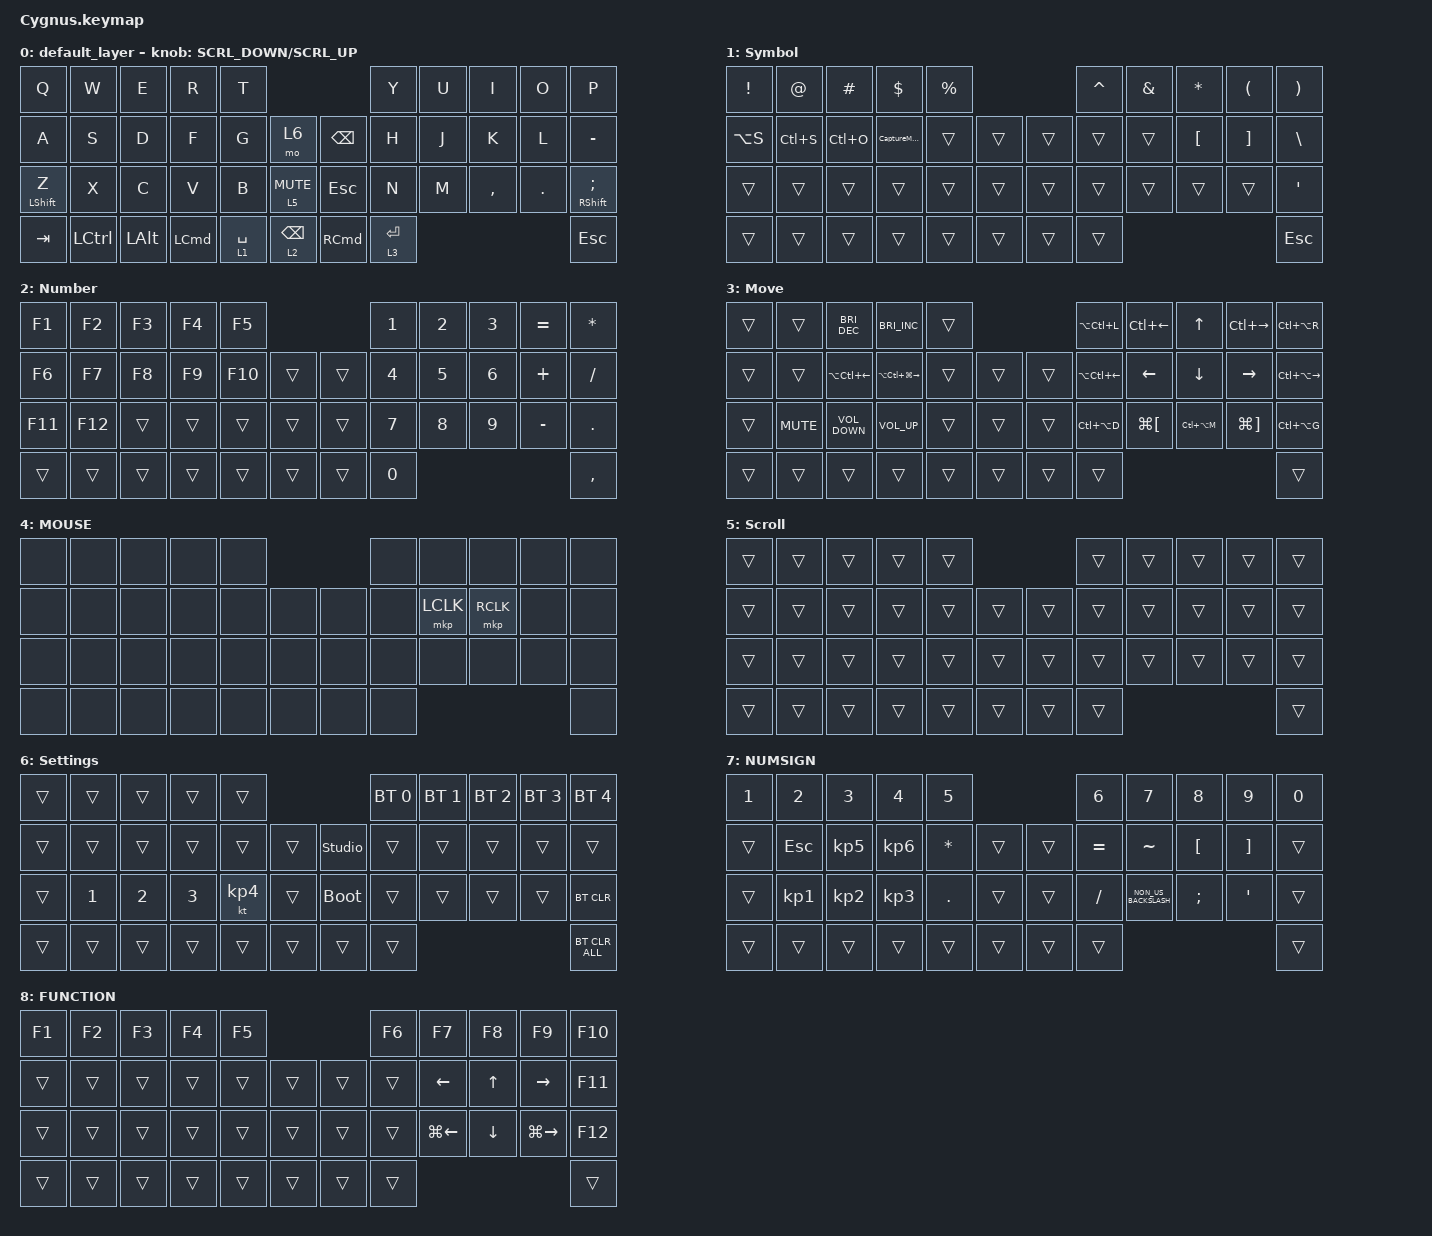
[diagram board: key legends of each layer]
#define ZMK_POINTING_DEFAULT_SCRL_VAL 120    // default: 10

#include <behaviors.dtsi>
#include <dt-bindings/zmk/bt.h>
#include <dt-bindings/zmk/keys.h>
#include <dt-bindings/zmk/pointing.h>

#define MOUSE 4
#define SCROLL 5
#define NUM 6

&mt {
    flavor = "balanced";
    quick-tap-ms = <0>;
};

/ {
    combos { compatible = "zmk,combos"; };

    macros {
        to_layer_0: to_layer_0 {
            compatible = "zmk,behavior-macro-one-param";
            #binding-cells = <1>;
            bindings = <&to 0 &macro_param_1to1 &kp MACRO_PLACEHOLDER>;
            label = "TO_LAYER_0";
        };

        CaptureMovie: new_macro {
            compatible = "zmk,behavior-macro";
            #binding-cells = <0>;
            bindings = <&kp LS(LG(NUMBER_1))>;
            label = "NEW_MACRO";
        };
    };

    behaviors {
        lt_to_layer_0: lt_to_layer_0 {
            compatible = "zmk,behavior-hold-tap";
            label = "LAYER_TAP_TO_0";
            bindings = <&mo>, <&to_layer_0>;

            #binding-cells = <2>;
            tapping-term-ms = <200>;
        };

        ROTATE: ROTATE {
            compatible = "zmk,behavior-sensor-rotate-var";
            label = "ROTATE";
            #sensor-binding-cells = <2>;
            bindings = <&msc>, <&msc>;

            tap-ms = <20>;
        };
    };

    keymap {
        compatible = "zmk,keymap";

        default_layer {
            bindings = <
&kp Q             &kp W             &kp E         &kp R             &kp T                                                &kp Y        &kp U  &kp I      &kp O    &kp P
&kp A             &kp S             &kp D         &kp F             &kp G        &mo 6                &kp BACKSPACE      &kp H        &kp J  &kp K      &kp L    &kp MINUS
&mt LEFT_SHIFT Z  &kp X             &kp C         &kp V             &kp B        &lt 5 C_MUTE         &kp ESCAPE         &kp N        &kp M  &kp COMMA  &kp DOT  &mt RIGHT_SHIFT SEMICOLON
&kp TAB           &kp LEFT_CONTROL  &kp LEFT_ALT  &kp LEFT_COMMAND  &lt 1 SPACE  &lt 2 BACKSPACE      &kp RIGHT_COMMAND  &lt 3 ENTER                             &kp ESCAPE
            >;

            sensor-bindings = <&ROTATE SCRL_DOWN SCRL_UP>;
        };

        Symbol {
            bindings = <
&kp EXCLAMATION  &kp AT_SIGN  &kp HASH   &kp DOLLAR     &kp PERCENT                      &kp CARET  &kp AMPERSAND  &kp ASTERISK  &kp LEFT_PARENTHESIS  &kp RIGHT_PARENTHESIS
&kp LA(S)        &kp LC(S)    &kp LC(O)  &CaptureMovie  &trans       &trans      &trans  &trans     &trans         &kp LBKT      &kp RBKT              &kp BSLH
&trans           &trans       &trans     &trans         &trans       &trans      &trans  &trans     &trans         &trans        &trans                &kp SQT
&trans           &trans       &trans     &trans         &trans       &trans      &trans  &trans                                                        &kp ESC
            >;
        };

        Number {
            bindings = <
&kp F1   &kp F2   &kp F3  &kp F4  &kp F5                       &kp N1  &kp N2  &kp N3  &kp EQUAL  &kp ASTRK
&kp F6   &kp F7   &kp F8  &kp F9  &kp F10  &trans      &trans  &kp N4  &kp N5  &kp N6  &kp PLUS   &kp SLASH
&kp F11  &kp F12  &trans  &trans  &trans   &trans      &trans  &kp N7  &kp N8  &kp N9  &kp MINUS  &kp PERIOD
&trans   &trans   &trans  &trans  &trans   &trans      &trans  &kp N0                             &kp COMMA
            >;
        };

        Move {
            bindings = <
&trans  &trans      &kp C_BRIGHTNESS_DEC    &kp C_BRIGHTNESS_INC         &trans                      &kp LA(LC(L))           &kp LC(LEFT_ARROW)    &kp UP_ARROW    &kp LC(RIGHT_ARROW)    &kp LC(LA(R))
&trans  &trans      &kp LA(LC(LEFT_ARROW))  &kp LA(LC(LG(RIGHT_ARROW)))  &trans  &trans      &trans  &kp LA(LC(LEFT_ARROW))  &kp LEFT_ARROW        &kp DOWN_ARROW  &kp RIGHT_ARROW        &kp LC(LA(RIGHT_ARROW))
&trans  &kp K_MUTE  &kp C_VOLUME_DOWN       &kp C_VOL_UP                 &trans  &trans      &trans  &kp LC(LA(D))           &kp LG(LEFT_BRACKET)  &kp LC(LA(M))   &kp LG(RIGHT_BRACKET)  &kp LC(LA(G))
&trans  &trans      &trans                  &trans                       &trans  &trans      &trans  &trans                                                                               &trans
            >;
        };

        MOUSE {
            bindings = <
&none  &none  &none  &none  &none                    &none  &none      &none      &none  &none
&none  &none  &none  &none  &none  &none      &none  &none  &mkp LCLK  &mkp RCLK  &none  &none
&none  &none  &none  &none  &none  &none      &none  &none  &none      &none      &none  &none
&none  &none  &none  &none  &none  &none      &none  &none                               &none
            >;
        };

        Scroll {
            bindings = <
&trans  &trans  &trans  &trans  &trans                      &trans  &trans  &trans  &trans  &trans
&trans  &trans  &trans  &trans  &trans  &trans      &trans  &trans  &trans  &trans  &trans  &trans
&trans  &trans  &trans  &trans  &trans  &trans      &trans  &trans  &trans  &trans  &trans  &trans
&trans  &trans  &trans  &trans  &trans  &trans      &trans  &trans                          &trans
            >;
        };

        Settings {
            bindings = <
&trans  &trans        &trans        &trans        &trans                                 &bt BT_SEL 0  &bt BT_SEL 1  &bt BT_SEL 2  &bt BT_SEL 3  &bt BT_SEL 4
&trans  &trans        &trans        &trans        &trans     &trans      &studio_unlock  &trans        &trans        &trans        &trans        &trans
&trans  &kp NUMBER_1  &kp NUMBER_2  &kp NUMBER_3  &kt KP_N4  &trans      &bootloader     &trans        &trans        &trans        &trans        &bt BT_CLR
&trans  &trans        &trans        &trans        &trans     &trans      &trans          &trans                                                  &bt BT_CLR_ALL
            >;
        };

        NUMSIGN {
            bindings = <
&kp NUMBER_1  &kp NUMBER_2     &kp NUMBER_3     &kp NUMBER_4     &kp N5                            &kp NUMBER_6  &kp N7                &kp N8            &kp N9             &kp N0
&trans        &kp ESCAPE       &kp KP_NUMBER_5  &kp KP_NUMBER_6  &kp ASTERISK  &trans      &trans  &kp EQUAL     &kp TILDE             &kp LEFT_BRACKET  &kp RIGHT_BRACKET  &trans
&trans        &kp KP_NUMBER_1  &kp KP_NUMBER_2  &kp KP_NUMBER_3  &kp PERIOD    &trans      &trans  &kp SLASH     &kp NON_US_BACKSLASH  &kp SEMICOLON     &kp SINGLE_QUOTE   &trans
&trans        &trans           &trans           &trans           &trans        &trans      &trans  &trans                                                                   &trans
            >;
        };

        FUNCTION {
            bindings = <
&kp F1  &kp F2  &kp F3  &kp F4  &kp F5                      &kp F6  &kp F7              &kp F8          &kp F9               &kp F10
&trans  &trans  &trans  &trans  &trans  &trans      &trans  &trans  &kp LEFT_ARROW      &kp UP_ARROW    &kp RIGHT_ARROW      &kp F11
&trans  &trans  &trans  &trans  &trans  &trans      &trans  &trans  &kp LG(LEFT_ARROW)  &kp DOWN_ARROW  &kp LG(RIGHT_ARROW)  &kp F12
&trans  &trans  &trans  &trans  &trans  &trans      &trans  &trans                                                           &trans
            >;
        };
    };

    conditional_layers {
        compatible = "zmk,conditional-layers";

        Scroll {
            if-layers = <1 2>;
            then-layer = <5>;
        };
    };
};
